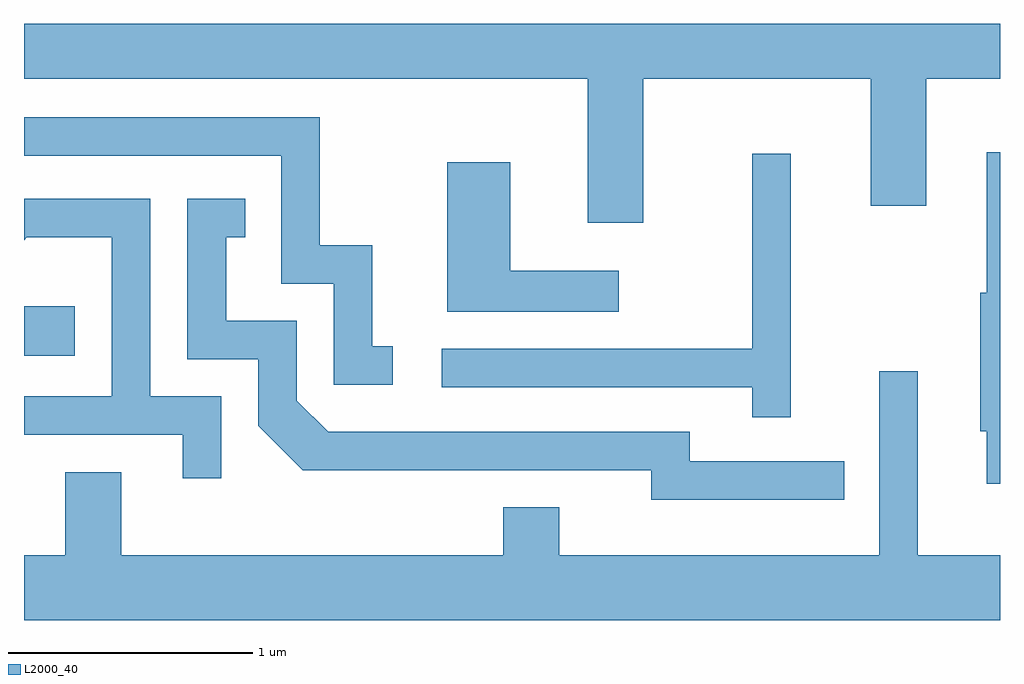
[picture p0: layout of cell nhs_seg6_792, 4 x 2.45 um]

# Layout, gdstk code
import gdstk
lib = gdstk.Library(unit=1e-6, precision=1e-09)
def R(c, l, rs):  # rectangles x0, y0, x1, y1
    for r in rs: c.add(gdstk.rectangle(r[:2], r[2:], *l))
def P(c, l, *ps):  # polygons
    for p in ps: c.add(gdstk.Polygon(p, *l))
L2000_40 = (2000, 40)

nhs_seg6_792 = lib.new_cell('nhs_seg6_792')
R(nhs_seg6_792, L2000_40, [(207.611,1648.801,207.819,1649.004)])
P(nhs_seg6_792, L2000_40, [(210.149,1649.936),(211.081,1649.936),(211.081,1649.416),(211.309,1649.416),(211.309,1649.936),(211.611,1649.936),(211.611,1650.162),(207.611,1650.162),(207.611,1649.936),(209.921,1649.936),(209.921,1649.346),(210.149,1649.346)],
  [(209.123,1648.839),(209.039,1648.839),(209.039,1649.254),(208.824,1649.254),(208.824,1649.779),(207.611,1649.779),(207.611,1649.621),(208.666,1649.621),(208.666,1649.096),(208.881,1649.096),(208.881,1648.681),(209.123,1648.681)],
  [(211.611,1649.634),(211.556,1649.634),(211.556,1649.059),(211.531,1649.059),(211.531,1648.491),(211.556,1648.491),(211.556,1648.276),(211.611,1648.276)],
  [(210.754,1649.628),(210.596,1649.628),(210.596,1648.829),(209.323,1648.829),(209.323,1648.671),(210.596,1648.671),(210.596,1648.548),(210.754,1648.548)],
  [(210.048,1649.149),(209.604,1649.149),(209.604,1649.594),(209.346,1649.594),(209.346,1648.981),(210.048,1648.981)],
  [(210.973,1648.369),(210.339,1648.369),(210.339,1648.489),(208.857,1648.489),(208.729,1648.617),(208.729,1648.944),(208.439,1648.944),(208.439,1649.286),(208.518,1649.286),(208.518,1649.444),(208.281,1649.444),(208.281,1648.786),(208.571,1648.786),(208.571,1648.514),(208.754,1648.331),(210.181,1648.331),(210.181,1648.211),(210.973,1648.211)],
  [(208.419,1648.634),(208.129,1648.634),(208.129,1649.444),(207.611,1649.444),(207.611,1649.275),(207.622,1649.286),(207.971,1649.286),(207.971,1648.634),(207.611,1648.634),(207.611,1648.476),(208.261,1648.476),(208.261,1648.298),(208.419,1648.298)],
  [(211.611,1647.984),(211.274,1647.984),(211.274,1648.738),(211.116,1648.738),(211.116,1647.984),(209.804,1647.984),(209.804,1648.179),(209.576,1648.179),(209.576,1647.984),(208.009,1647.984),(208.009,1648.324),(207.781,1648.324),(207.781,1647.984),(207.611,1647.984),(207.611,1647.716),(211.611,1647.716)])

lib.write_gds('nhs_seg6_792.gds')
